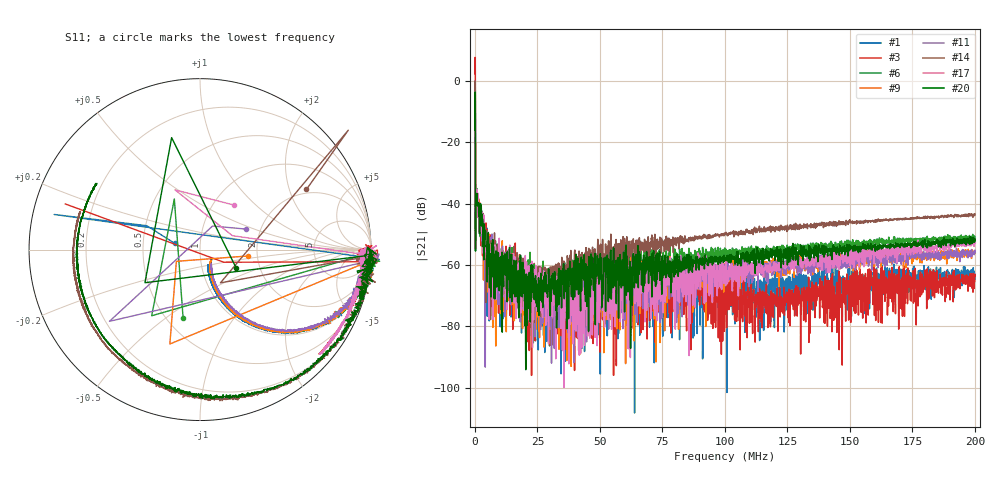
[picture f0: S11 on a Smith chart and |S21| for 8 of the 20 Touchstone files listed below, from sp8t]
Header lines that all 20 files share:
! CHANNEL.1
! TR.MEASUREMENT
! CORRECTED.DATA
# GHZ S RI R 50.0
! FREQ.GHZ  S11RE  S11IM  S21RE  S21IM  S12RE  S12IM  S22RE  S22IM
!; PortSelection: Port_12
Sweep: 50 kHz to 200 MHz
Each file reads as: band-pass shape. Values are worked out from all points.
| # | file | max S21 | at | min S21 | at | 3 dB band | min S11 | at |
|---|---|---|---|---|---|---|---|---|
| 1 | sp8t_p6_rf1.s2p | -4.39 dB | 150 kHz | -108.2 dB | 63.87 MHz | 150 kHz-150 kHz | -19.9 dB | 199.9 MHz |
| 2 | sp8t_p6_rf2.s2p | 3.65 dB | 150 kHz | -91.7 dB | 36.76 MHz | 150 kHz-150 kHz | -26.8 dB | 50 kHz |
| 3 | sp8t_p6_rf3.s2p | 7.72 dB | 150 kHz | -96.0 dB | 22.66 MHz | 150 kHz-150 kHz | -16.0 dB | 250 kHz |
| 4 | sp8t_p6_rf4.s2p | 10.62 dB | 150 kHz | -98.5 dB | 32.66 MHz | 150 kHz-150 kHz | -19.5 dB | 199.4 MHz |
| 5 | sp8t_p6_rf5.s2p | 7.94 dB | 150 kHz | -95.9 dB | 75.47 MHz | 150 kHz-150 kHz | -22.2 dB | 50 kHz |
| 6 | sp8t_p6_rf7.s2p | -7.25 dB | 50 kHz | -85.3 dB | 23.36 MHz | 50 kHz-50 kHz | -21.0 dB | 199.4 MHz |
| 7 | sp8t_p6_rf8.s2p | -4.47 dB | 150 kHz | -90.9 dB | 16.15 MHz | 150 kHz-150 kHz | -18.8 dB | 250 kHz |
| 8 | sp8t_p7_rf1.s2p | 3.16 dB | 150 kHz | -105.1 dB | 42.06 MHz | 150 kHz-150 kHz | -19.8 dB | 199.9 MHz |
| 9 | sp8t_p7_rf2.s2p | -2.99 dB | 150 kHz | -93.0 dB | 38.46 MHz | 150 kHz-150 kHz | -20.9 dB | 200 MHz |
| 10 | sp8t_p7_rf3.s2p | -1.29 dB | 50 kHz | -120.0 dB | 46.16 MHz | 50 kHz-50 kHz | -24.8 dB | 150 kHz |
| 11 | sp8t_p7_rf4.s2p | -0.89 dB | 150 kHz | -93.3 dB | 4.151 MHz | 150 kHz-150 kHz | -19.4 dB | 200 MHz |
| 12 | sp8t_p7_rf5.s2p | 2.26 dB | 150 kHz | -90.8 dB | 79.17 MHz | 150 kHz-150 kHz | -20.2 dB | 200 MHz |
| 13 | sp8t_p7_rf6.s2p | -1.30 dB | 150 kHz | -85.2 dB | 25.86 MHz | 150 kHz-150 kHz | -20.9 dB | 200 MHz |
| 14 | sp8t_p7_rf8.s2p | -0.01 dB | 150 kHz | -80.9 dB | 22.86 MHz | 150 kHz-150 kHz | -12.8 dB | 250 kHz |
| 15 | sp8t_p8_rf1.s2p | 2.16 dB | 150 kHz | -109.4 dB | 36.96 MHz | 150 kHz-150 kHz | -23.5 dB | 150 kHz |
| 16 | sp8t_p8_rf2.s2p | -5.59 dB | 150 kHz | -89.4 dB | 27.86 MHz | 150 kHz-150 kHz | -20.9 dB | 199.8 MHz |
| 17 | sp8t_p8_rf3.s2p | -4.33 dB | 150 kHz | -100.0 dB | 35.66 MHz | 150 kHz-150 kHz | -13.7 dB | 250 kHz |
| 18 | sp8t_p8_rf5.s2p | -5.80 dB | 150 kHz | -95.8 dB | 22.86 MHz | 150 kHz-150 kHz | -22.0 dB | 250 kHz |
| 19 | sp8t_p8_rf6.s2p | -6.24 dB | 50 kHz | -90.0 dB | 21.66 MHz | 50 kHz-50 kHz | -21.0 dB | 200 MHz |
| 20 | sp8t_p8_rf7.s2p | -3.64 dB | 150 kHz | -94.1 dB | 20.36 MHz | 150 kHz-150 kHz | -12.5 dB | 50 kHz |
